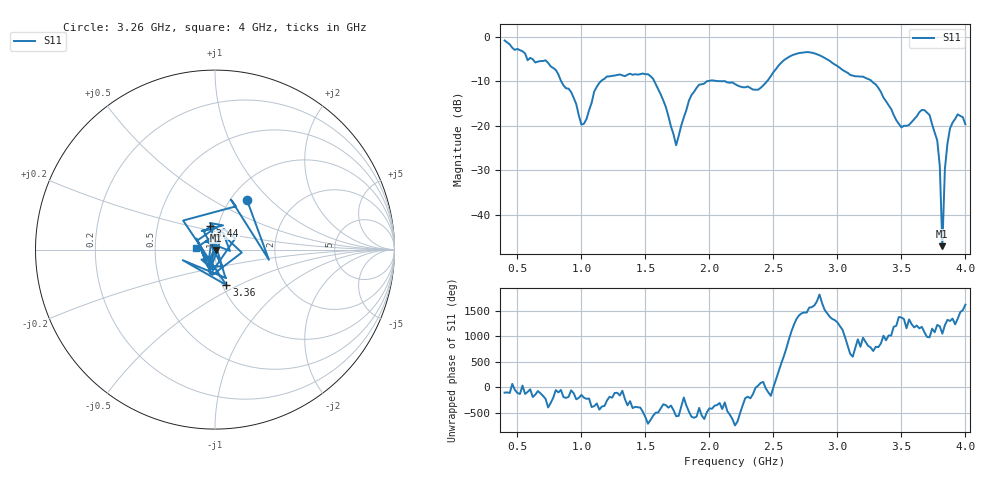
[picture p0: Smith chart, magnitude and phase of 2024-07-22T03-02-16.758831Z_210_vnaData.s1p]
!Created with skrf (http://scikit-rf.org).
# Hz S RI R 50.0
!freq ReS11 ImS11
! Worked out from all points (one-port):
!   181 points, 400 MHz to 4 GHz, reference 50 ohm
!   lowest |S11| = -47.1 dB at 3.82 GHz (marker M1), VSWR 1.01, Z = 50.4 - j0.241 ohm
!   |S11| at or under -10 dB: 1.57 GHz to 1.978 GHz (407.7 MHz wide, 23 % of centre); 2.125 GHz to 2.449 GHz (323.6 MHz wide, 14.1 % of centre); 3.27 GHz to end of sweep (the widest 3 of 4)
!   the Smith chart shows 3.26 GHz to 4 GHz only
!   S11 on the Smith chart (normalised r, x): 3.26 GHz: 1.19, +0.73; 3.36 GHz: 1.04, -0.43; 3.44 GHz: 0.92, +0.24; 4 GHz: 0.81, +0.02
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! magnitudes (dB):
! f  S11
! 400 MHz  -0.8
! 720 MHz  -5.2
! 860 MHz  -10.9
! 920 MHz  -12.4
! 1 GHz  -19.7
! 1.14 GHz  -10.3
! 1.3 GHz  -8.4
! 1.56 GHz  -9.4
! 1.74 GHz  -24.4
! 1.76 GHz  -22.3
! 1.84 GHz  -14.3
! 1.92 GHz  -10.7
! 2.2 GHz  -10.6
! 2.38 GHz  -11.9
! 2.66 GHz  -3.9
! 3.1 GHz  -8.5
! 3.26 GHz  -9.7
! 3.36 GHz  -13.7
! 3.44 GHz  -17.6
! 3.56 GHz  -19.8
! 3.68 GHz  -16.5
! 3.78 GHz  -23.3
! 3.8 GHz  -29.1
! 3.82 GHz  -47.1
! 3.84 GHz  -29.7
! 3.88 GHz  -20.6
! 3.94 GHz  -17.4
! 4 GHz  -19.6
